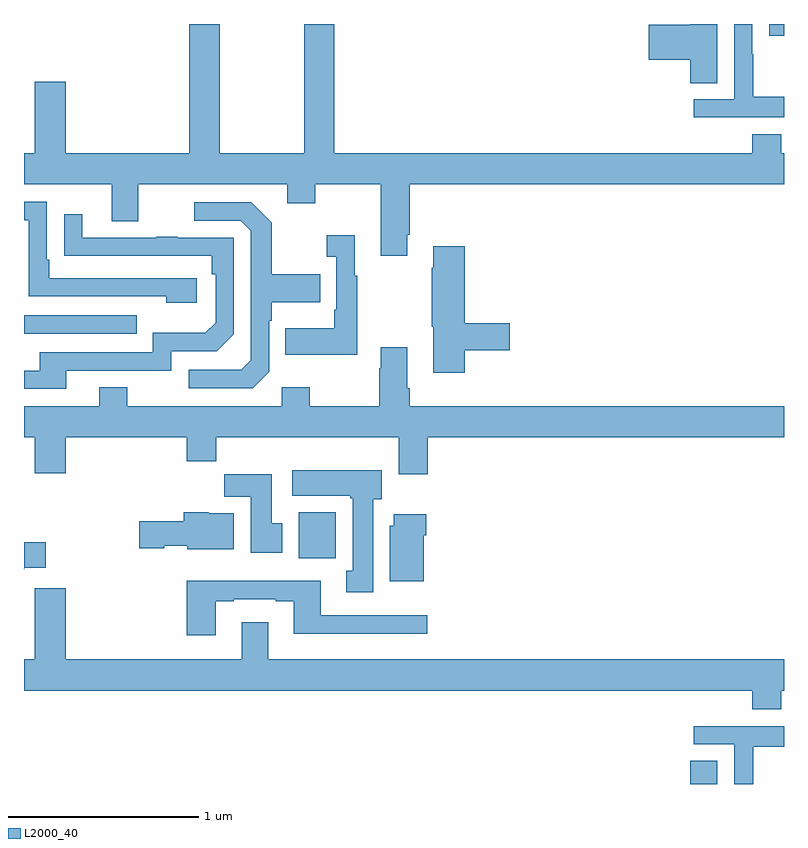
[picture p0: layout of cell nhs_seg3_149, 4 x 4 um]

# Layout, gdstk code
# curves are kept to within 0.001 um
import gdstk
lib = gdstk.Library(unit=1e-6, precision=1e-09)
def R(c, l, rs):  # rectangles x0, y0, x1, y1
    for r in rs: c.add(gdstk.rectangle(r[:2], r[2:], *l))
def P(c, l, *ps):  # polygons
    for p in ps: c.add(gdstk.Polygon(p, *l))
L2000_40 = (2000, 40)

nhs_seg3_149 = lib.new_cell('nhs_seg3_149')
R(nhs_seg3_149, L2000_40, [(120.506,724.4,120.649,724.523), (118.445,725.588,118.642,725.83), (117,726.771,117.593,726.867), (120.923,728.337,121,728.4)])
P(nhs_seg3_149, L2000_40, [(121,728.017),(120.837,728.017),(120.837,728.24),(120.834,728.24),(120.834,728.4),(120.738,728.4),(120.738,728.004),(120.525,728.004),(120.525,727.908),(121,727.908)],
  [(119.017,727.291),(119.03,727.291),(119.03,727.556),(121,727.556),(121,727.72),(120.985,727.72),(120.985,727.819),(120.833,727.819),(120.833,727.72),(118.634,727.72),(118.634,728.4),(118.474,728.4),(118.474,727.72),(118.029,727.72),(118.029,728.4),(117.869,728.4),(117.869,727.72),(117.22,727.72),(117.22,728.095),(117.056,728.095),(117.056,727.72),(117,727.72),(117,727.556),(117.461,727.556),(117.461,727.362),(117.601,727.362),(117.601,727.556),(118.385,727.556),(118.385,727.457),(118.533,727.457),(118.533,727.556),(118.877,727.556),(118.877,727.179),(119.017,727.179)],
  [(120.649,728.4),(120.506,728.4),(120.506,728.396),(120.288,728.396),(120.288,728.213),(120.506,728.213),(120.506,728.089),(120.649,728.089)],
  [(117.91,727.062),(117.133,727.062),(117.133,727.159),(117.12,727.159),(117.12,727.464),(117,727.464),(117,727.368),(117.024,727.368),(117.024,726.966),(117.749,726.966),(117.749,726.932),(117.91,726.932)],
  [(118.29,726.57),(118.29,726.839),(118.303,726.839),(118.303,726.935),(118.559,726.935),(118.559,727.083),(118.303,727.083),(118.303,727.355),(118.197,727.461),(117.897,727.461),(117.897,727.365),(118.14,727.365),(118.194,727.311),(118.194,726.63),(118.143,726.579),(117.867,726.579),(117.867,726.483),(118.203,726.483)],
  [(117.223,726.576),(117.774,726.576),(117.774,726.678),(118.014,726.678),(118.104,726.768),(118.104,727.275),(117.809,727.275),(117.809,727.28),(117.697,727.28),(117.697,727.275),(117.307,727.275),(117.307,727.399),(117.211,727.399),(117.211,727.18),(117.988,727.179),(117.988,727.082),(118.008,727.082),(118.008,726.828),(117.955,726.775),(117.678,726.775),(117.678,726.672),(117.083,726.672),(117.083,726.576),(117,726.576),(117,726.48),(117.223,726.48)],
  [(118.753,727.075),(118.741,727.075),(118.741,727.288),(118.593,727.288),(118.593,727.175),(118.644,727.175),(118.644,726.895),(118.632,726.895),(118.632,726.799),(118.375,726.799),(118.375,726.659),(118.753,726.659)],
  [(119.321,726.682),(119.557,726.682),(119.557,726.824),(119.321,726.824),(119.321,727.231),(119.153,727.231),(119.153,727.118),(119.146,727.118),(119.146,726.807),(119.153,726.807),(119.153,726.564),(119.321,726.564)],
  [(119.126,726.224),(121,726.224),(121,726.388),(119.03,726.388),(119.03,726.484),(119.017,726.484),(119.017,726.7),(118.877,726.7),(118.877,726.587),(118.87,726.587),(118.87,726.388),(118.503,726.388),(118.503,726.487),(118.356,726.487),(118.356,726.388),(117.543,726.388),(117.543,726.487),(117.395,726.487),(117.395,726.388),(117,726.388),(117,726.224),(117.056,726.224),(117.056,726.036),(117.22,726.036),(117.22,726.224),(117.857,726.224),(117.857,726.1),(118.013,726.1),(118.013,726.224),(118.973,726.224),(118.973,726.03),(119.126,726.03)],
  [(118.837,725.898),(118.882,725.898),(118.882,726.052),(118.413,726.052),(118.413,725.918),(118.717,725.918),(118.717,725.905),(118.73,725.905),(118.73,725.522),(118.697,725.522),(118.697,725.409),(118.837,725.409)],
  [(118.36,725.772),(118.303,725.772),(118.303,726.031),(118.054,726.031),(118.054,725.912),(118.193,725.912),(118.193,725.616),(118.36,725.616)],
  [(118.105,725.824),(117.972,725.824),(117.972,725.83),(117.842,725.83),(117.842,725.784),(117.606,725.784),(117.606,725.642),(117.738,725.642),(117.738,725.654),(117.858,725.654),(117.858,725.636),(118.105,725.636)],
  [(119.104,725.708),(119.117,725.708),(119.117,725.821),(118.946,725.821),(118.946,725.76),(118.925,725.76),(118.925,725.468),(119.104,725.468)],
  [(117.002,725.537),(117.115,725.537),(117.115,725.672),(117,725.672),(117,725.53),(117.002,725.53)],
  [(118.009,725.361),(118.105,725.361),(118.105,725.373),(118.325,725.373),(118.325,725.361),(118.421,725.361),(118.421,725.192),(119.122,725.192),(119.122,725.289),(118.561,725.289),(118.561,725.47),(117.857,725.47),(117.857,725.184),(118.009,725.184)],
  [(120.985,724.892),(121,724.892),(121,725.056),(118.285,725.056),(118.285,725.251),(118.145,725.251),(118.145,725.056),(117.22,725.056),(117.22,725.431),(117.056,725.431),(117.056,725.056),(117,725.056),(117,724.892),(120.833,724.892),(120.833,724.793),(120.985,724.793)],
  [(120.837,724.596),(121,724.596),(121,724.704),(120.525,724.704),(120.525,724.608),(120.738,724.608),(120.738,724.4),(120.837,724.4)])

lib.write_gds('nhs_seg3_149.gds')
